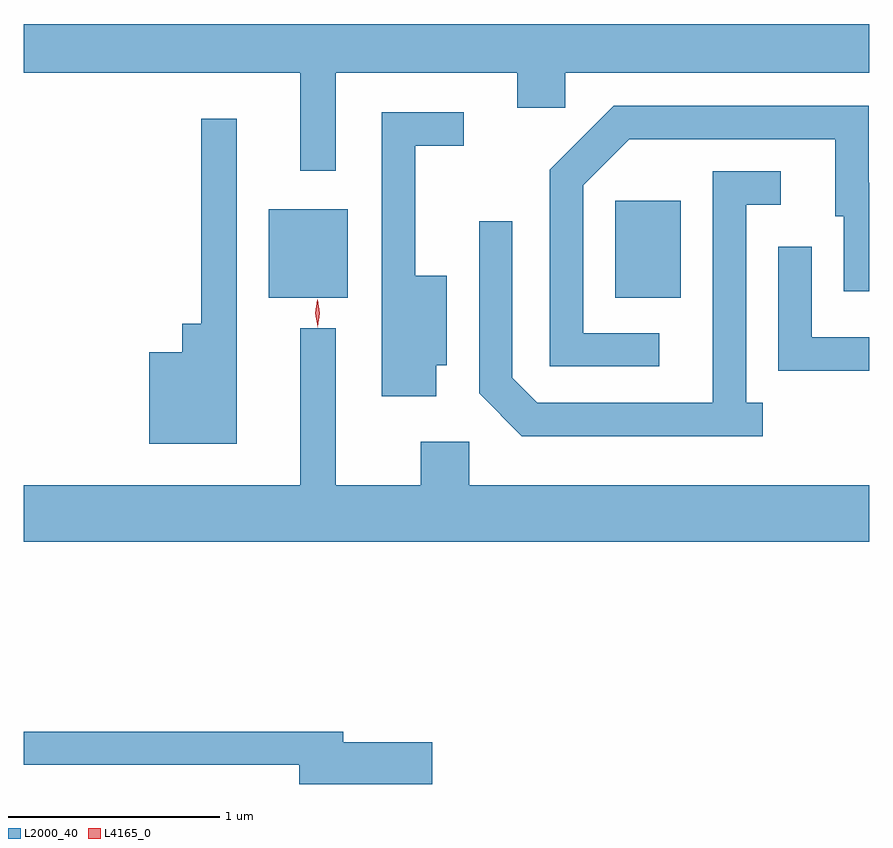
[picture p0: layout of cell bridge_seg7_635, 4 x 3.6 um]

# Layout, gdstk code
import gdstk
lib = gdstk.Library(unit=1e-6, precision=1e-09)
def R(c, l, rs):  # rectangles x0, y0, x1, y1
    for r in rs: c.add(gdstk.rectangle(r[:2], r[2:], *l))
def P(c, l, *ps):  # polygons
    for p in ps: c.add(gdstk.Polygon(p, *l))
L2000_40 = (2000, 40)
L4165_0 = (4165, 0)

bridge_seg7_635 = lib.new_cell('bridge_seg7_635')
R(bridge_seg7_635, L2000_40, [(697.971,1671.071,698.344,1671.489), (699.611,1671.071,699.919,1671.529)])
P(bridge_seg7_635, L2000_40, [(698.289,1672.136),(699.146,1672.136),(699.146,1671.971),(699.374,1671.971),(699.374,1672.136),(700.812,1672.136),(700.812,1672.366),(696.812,1672.366),(696.812,1672.136),(698.121,1672.136),(698.121,1671.673),(698.289,1671.673)],
  [(699.818,1670.904),(699.459,1670.904),(699.459,1671.604),(699.677,1671.821),(700.651,1671.821),(700.651,1671.456),(700.691,1671.456),(700.691,1671.101),(700.812,1671.101),(700.812,1671.614),(700.809,1671.614),(700.809,1671.979),(699.604,1671.979),(699.301,1671.677),(699.301,1670.746),(699.818,1670.746)],
  [(698.764,1670.751),(698.814,1670.751),(698.814,1671.174),(698.664,1671.174),(698.664,1671.791),(698.893,1671.791),(698.893,1671.949),(698.506,1671.949),(698.506,1670.606),(698.764,1670.606)],
  [(697.819,1671.918),(697.651,1671.918),(697.651,1670.949),(697.561,1670.949),(697.561,1670.814),(697.406,1670.814),(697.406,1670.381),(697.819,1670.381)],
  [(700.308,1670.574),(700.229,1670.574),(700.229,1671.511),(700.393,1671.511),(700.393,1671.669),(700.071,1671.669),(700.071,1670.574),(699.242,1670.574),(699.124,1670.692),(699.124,1671.433),(698.966,1671.433),(698.966,1670.619),(699.169,1670.416),(700.308,1670.416)],
  [(700.812,1670.884),(700.539,1670.884),(700.539,1671.313),(700.381,1671.313),(700.381,1670.726),(700.812,1670.726)],
  [(700.812,1670.184),(698.919,1670.184),(698.919,1670.389),(698.691,1670.389),(698.691,1670.184),(698.289,1670.184),(698.289,1670.928),(698.121,1670.928),(698.121,1670.184),(696.812,1670.184),(696.812,1669.916),(700.812,1669.916)],
  [(698.744,1668.969),(698.324,1668.969),(698.324,1669.019),(696.812,1669.019),(696.812,1668.861),(698.116,1668.861),(698.116,1668.771),(698.744,1668.771)])
P(bridge_seg7_635, L4165_0, [(698.202,1670.932),(698.202,1670.933),(698.192,1670.997),(698.201,1671.061),(698.201,1671.062),(698.202,1671.061),(698.212,1670.997),(698.203,1670.933)])

lib.write_gds('bridge_seg7_635.gds')
